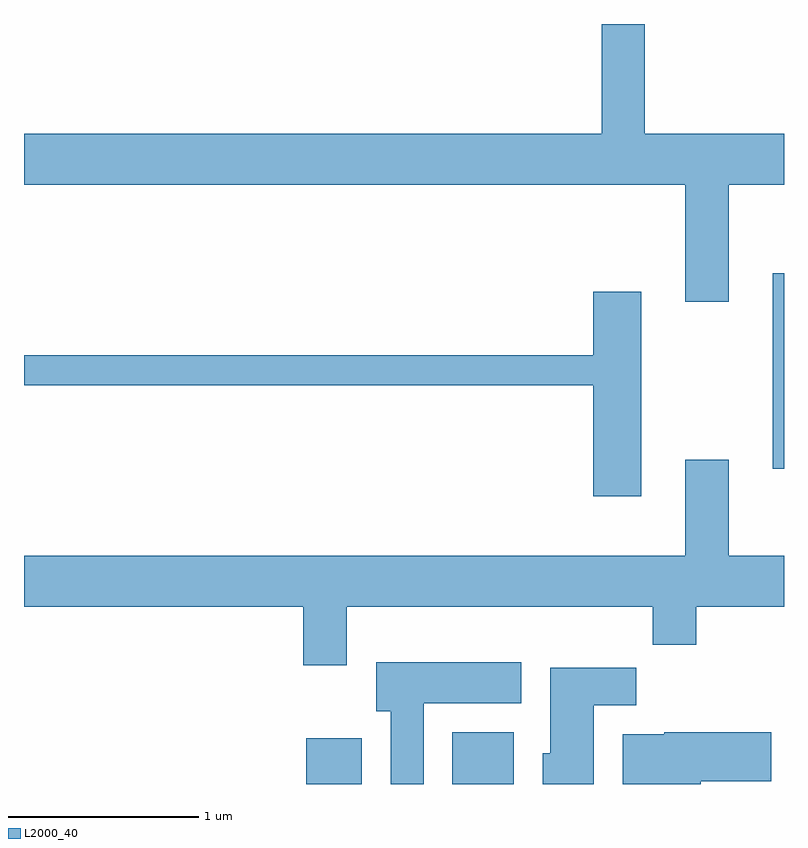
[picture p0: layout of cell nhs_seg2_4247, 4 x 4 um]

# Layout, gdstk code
import gdstk
lib = gdstk.Library(unit=1e-6, precision=1e-09)
def R(c, l, rs):  # rectangles x0, y0, x1, y1
    for r in rs: c.add(gdstk.rectangle(r[:2], r[2:], *l))
def P(c, l, *ps):  # polygons
    for p in ps: c.add(gdstk.Polygon(p, *l))
L2000_40 = (2000, 40)

nhs_seg2_4247 = lib.new_cell('nhs_seg2_4247')
R(nhs_seg2_4247, L2000_40, [(311.096,1071.802,311.389,1072.044), (311.866,1071.802,312.189,1072.074), (313.551,1073.461,313.611,1074.489)])
P(nhs_seg2_4247, L2000_40, [(312.651,1075.802),(312.651,1075.224),(309.611,1075.224),(309.611,1074.956),(313.091,1074.956),(313.091,1074.341),(313.319,1074.341),(313.319,1074.956),(313.611,1074.956),(313.611,1075.224),(312.879,1075.224),(312.879,1075.802)],
  [(312.859,1074.394),(312.606,1074.394),(312.606,1074.059),(309.611,1074.059),(309.611,1073.901),(312.606,1073.901),(312.606,1073.316),(312.859,1073.316)],
  [(311.309,1072.736),(312.921,1072.736),(312.921,1072.536),(313.149,1072.536),(313.149,1072.736),(313.611,1072.736),(313.611,1073.004),(313.319,1073.004),(313.319,1073.509),(313.091,1073.509),(313.091,1073.004),(309.611,1073.004),(309.611,1072.736),(311.081,1072.736),(311.081,1072.426),(311.309,1072.426)],
  [(311.714,1072.226),(312.229,1072.226),(312.229,1072.444),(311.466,1072.444),(311.466,1072.186),(311.541,1072.186),(311.541,1071.802),(311.714,1071.802)],
  [(312.609,1072.216),(312.834,1072.216),(312.834,1072.414),(312.381,1072.414),(312.381,1071.964),(312.341,1071.964),(312.341,1071.802),(312.609,1071.802)],
  [(313.174,1071.816),(313.544,1071.816),(313.544,1072.074),(312.98,1072.074),(312.98,1072.064),(312.761,1072.064),(312.761,1071.802),(313.174,1071.802)])

lib.write_gds('nhs_seg2_4247.gds')
